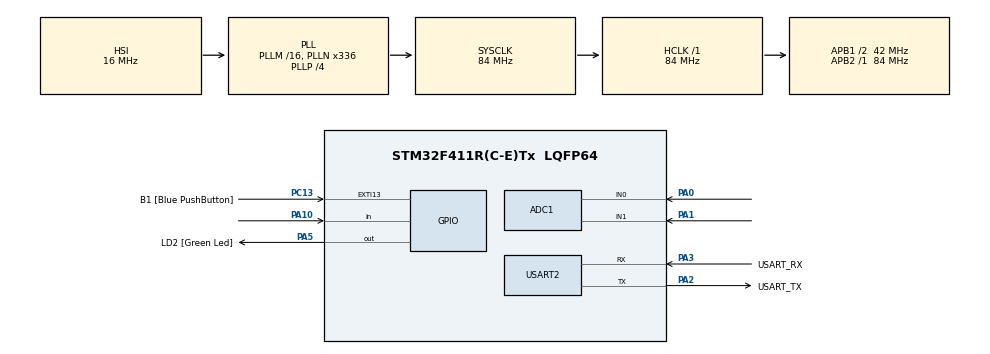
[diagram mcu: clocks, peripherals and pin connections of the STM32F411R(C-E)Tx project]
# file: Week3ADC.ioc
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Mcu.Family=STM32F4
PC15-OSC32_OUT.Mode=LSE-External-Oscillator
RCC.CortexFreq_Value=84000000
ADC1.Rank-0\#ChannelRegularConversion=1
PC13-ANTI_TAMP.GPIO_PuPd=GPIO_NOPULL
VP_ADC1_TempSens_Input.Mode=IN-TempSens
PC13-ANTI_TAMP.GPIO_Label=B1 [Blue PushButton]
PA14.GPIO_Label=TCK
PH1\ -\ OSC_OUT.Mode=HSE-External-Clock-Source
ADC1.DiscontinuousConvMode=DISABLE
RCC.APB1CLKDivider=RCC_HCLK_DIV2
PC14-OSC32_IN.Signal=RCC_OSC32_IN
RCC.SYSCLKSource=RCC_SYSCLKSOURCE_PLLCLK
ProjectManager.StackSize=0x400
PA0-WKUP.Signal=ADCx_IN0
PA3.Mode=Asynchronous
PA13.Signal=SYS_JTMS-SWDIO
PH0\ -\ OSC_IN.Mode=HSE-External-Clock-Source
PH0\ -\ OSC_IN.Signal=RCC_OSC_IN
ProjectManager.TargetToolchain=STM32CubeIDE
RCC.HCLKFreq_Value=84000000
RCC.APB2TimFreq_Value=84000000
PC15-OSC32_OUT.Signal=RCC_OSC32_OUT
PA1.Signal=ADCx_IN1
RCC.AHBFreq_Value=84000000
PA5.Signal=GPIO_Output
ADC1.Channel-0\#ChannelRegularConversion=ADC_CHANNEL_0
RCC.HSE_VALUE=8000000
PH1\ -\ OSC_OUT.Signal=RCC_OSC_OUT
board=NUCLEO-F411RE
PC13-ANTI_TAMP.Signal=GPXTI13
RCC.VCOOutputFreq_Value=336000000
RCC.APB2Freq_Value=84000000
PC14-OSC32_IN.Mode=LSE-External-Oscillator
PA14.Mode=Serial_Wire
SH.ADCx_IN0.0=ADC1_IN0,IN0
ADC1.NbrOfConversion=1
PA13.Mode=Serial_Wire
Mcu.Name=STM32F411R(C-E)Tx
ADC1.SamplingTime-0\#ChannelRegularConversion=ADC_SAMPLETIME_3CYCLES
PA2.Signal=USART2_TX
PA13.GPIO_Label=TMS
RCC.FLatency-AdvancedSettings=FLASH_LATENCY_2
RCC.48MHZClocksFreq_Value=84000000
PB3.Signal=SYS_JTDO-SWO
RCC.SYSCLKFreq_VALUE=84000000
Mcu.Package=LQFP64
ADC1.master=1
PA5.GPIO_Label=LD2 [Green Led]
USART2.VirtualMode=VM_ASYNC
PC13-ANTI_TAMP.GPIO_ModeDefaultEXTI=GPIO_MODE_IT_FALLING
PA2.GPIO_Label=USART_TX
PA10.Signal=GPIO_Input
PA14.Signal=SYS_JTCK-SWCLK
ProjectManager.HeapSize=0x200
RCC.HSI_VALUE=16000000
RCC.PLLP=RCC_PLLP_DIV4
NVIC.PriorityGroup=NVIC_PRIORITYGROUP_0
ADC1.NbrOfConversionFlag=1
SH.ADCx_IN1.0=ADC1_IN1,IN1
RCC.PLLN=336
RCC.APB1TimFreq_Value=84000000
PA2.Mode=Asynchronous
RCC.APB1Freq_Value=42000000
PA3.GPIO_Label=USART_RX
PA3.Signal=USART2_RX
PB3.GPIO_Label=SWO

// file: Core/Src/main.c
/* USER CODE BEGIN Header */
/**
 ******************************************************************************
 * @file           : main.c
 * @brief          : Main program body
 ******************************************************************************
 * @attention
 *
 * <h2><center>&copy; Copyright (c) 2021 STMicroelectronics.
 * All rights reserved.</center></h2>
 *
 * This software component is licensed by ST under BSD 3-Clause license,
 * the "License"; You may not use this file except in compliance with the
 * License. You may obtain a copy of the License at:
 *                        opensource.org/licenses/BSD-3-Clause
 *
 ******************************************************************************
 */
/* USER CODE END Header */
#include "main.h"

ADC_HandleTypeDef hadc1;

UART_HandleTypeDef huart2;

/* USER CODE BEGIN PV */
uint16_t adcdata[2] = { 0 };

typedef struct {
	ADC_ChannelConfTypeDef Config;
	uint16_t data;
} ADCStructure;

ADCStructure ADCChannel[3] = { 0 };
	uint8_t ADCMode = 0 ;
	float ADCOutputConverted = 0;
	uint8_t x[2] = {0} ;
/* USER CODE END PV */

void SystemClock_Config(void);
static void MX_GPIO_Init(void);
static void MX_USART2_UART_Init(void);
static void MX_ADC1_Init(void);
/* USER CODE BEGIN PFP */
void ADCPollingMethodInit();
void ADCPollingMethodUpdate();
/* USER CODE END PFP */

int main(void)
{

  /* MCU Configuration--------------------------------------------------------*/

  /* Reset of all peripherals, Initializes the Flash interface and the Systick. */
  HAL_Init();

  /* Configure the system clock */
  SystemClock_Config();

  /* Initialize all configured peripherals */
  MX_GPIO_Init();
  MX_USART2_UART_Init();
  MX_ADC1_Init();
  /* USER CODE BEGIN 2 */
	ADCPollingMethodInit();

  /* USER CODE END 2 */

  /* Infinite loop */
	while (1) {

    /* USER CODE BEGIN 3 */

		ADCPollingMethodUpdate();
		x[0] = HAL_GPIO_ReadPin(GPIOA, GPIO_PIN_10);
		if(x[0] == GPIO_PIN_RESET && x[1] == GPIO_PIN_SET)
		{
			if(ADCMode == 1)
			{
				ADCMode = 0;
			}
			else
			{
				ADCMode = 1;
			}
		}
		x[1] = x[0];

		if(ADCMode == 1)
		{
			ADCOutputConverted = ((((ADCChannel[2].data*3.3/4096.0))-0.76)/0.0025)+25;
		}
		else
		{
			ADCOutputConverted = ADCChannel[0].data*3.3/4096.0*1000.0;
		}
	}
  /* USER CODE END 3 */
}

void SystemClock_Config(void)
{
  RCC_OscInitTypeDef RCC_OscInitStruct = {0};
  RCC_ClkInitTypeDef RCC_ClkInitStruct = {0};

  /** Configure the main internal regulator output voltage
  */
  __HAL_RCC_PWR_CLK_ENABLE();
  __HAL_PWR_VOLTAGESCALING_CONFIG(PWR_REGULATOR_VOLTAGE_SCALE1);
  /** Initializes the RCC Oscillators according to the specified parameters
  * in the RCC_OscInitTypeDef structure.
  */
  RCC_OscInitStruct.OscillatorType = RCC_OSCILLATORTYPE_HSI;
  RCC_OscInitStruct.HSIState = RCC_HSI_ON;
  RCC_OscInitStruct.HSICalibrationValue = RCC_HSICALIBRATION_DEFAULT;
  RCC_OscInitStruct.PLL.PLLState = RCC_PLL_ON;
  RCC_OscInitStruct.PLL.PLLSource = RCC_PLLSOURCE_HSI;
  RCC_OscInitStruct.PLL.PLLM = 16;
  RCC_OscInitStruct.PLL.PLLN = 336;
  RCC_OscInitStruct.PLL.PLLP = RCC_PLLP_DIV4;
  RCC_OscInitStruct.PLL.PLLQ = 4;
  if (HAL_RCC_OscConfig(&RCC_OscInitStruct) != HAL_OK)
  {
    Error_Handler();
  }
  /** Initializes the CPU, AHB and APB buses clocks
  */
  RCC_ClkInitStruct.ClockType = RCC_CLOCKTYPE_HCLK|RCC_CLOCKTYPE_SYSCLK
                              |RCC_CLOCKTYPE_PCLK1|RCC_CLOCKTYPE_PCLK2;
  RCC_ClkInitStruct.SYSCLKSource = RCC_SYSCLKSOURCE_PLLCLK;
  RCC_ClkInitStruct.AHBCLKDivider = RCC_SYSCLK_DIV1;
  RCC_ClkInitStruct.APB1CLKDivider = RCC_HCLK_DIV2;
  RCC_ClkInitStruct.APB2CLKDivider = RCC_HCLK_DIV1;

  if (HAL_RCC_ClockConfig(&RCC_ClkInitStruct, FLASH_LATENCY_2) != HAL_OK)
  {
    Error_Handler();
  }
}

static void MX_ADC1_Init(void)
{

  ADC_ChannelConfTypeDef sConfig = {0};

  /** Configure the global features of the ADC (Clock, Resolution, Data Alignment and number of conversion)
  */
  hadc1.Instance = ADC1;
  hadc1.Init.ClockPrescaler = ADC_CLOCK_SYNC_PCLK_DIV4;
  hadc1.Init.Resolution = ADC_RESOLUTION_12B;
  hadc1.Init.ScanConvMode = DISABLE;
  hadc1.Init.ContinuousConvMode = DISABLE;
  hadc1.Init.DiscontinuousConvMode = DISABLE;
  hadc1.Init.ExternalTrigConvEdge = ADC_EXTERNALTRIGCONVEDGE_NONE;
  hadc1.Init.ExternalTrigConv = ADC_SOFTWARE_START;
  hadc1.Init.DataAlign = ADC_DATAALIGN_RIGHT;
  hadc1.Init.NbrOfConversion = 1;
  hadc1.Init.DMAContinuousRequests = DISABLE;
  hadc1.Init.EOCSelection = ADC_EOC_SINGLE_CONV;
  if (HAL_ADC_Init(&hadc1) != HAL_OK)
  {
    Error_Handler();
  }
  /** Configure for the selected ADC regular channel its corresponding rank in the sequencer and its sample time.
  */
  sConfig.Channel = ADC_CHANNEL_0;
  sConfig.Rank = 1;
  sConfig.SamplingTime = ADC_SAMPLETIME_3CYCLES;
  if (HAL_ADC_ConfigChannel(&hadc1, &sConfig) != HAL_OK)
  {
    Error_Handler();
  }

}

static void MX_USART2_UART_Init(void)
{

  huart2.Instance = USART2;
  huart2.Init.BaudRate = 115200;
  huart2.Init.WordLength = UART_WORDLENGTH_8B;
  huart2.Init.StopBits = UART_STOPBITS_1;
  huart2.Init.Parity = UART_PARITY_NONE;
  huart2.Init.Mode = UART_MODE_TX_RX;
  huart2.Init.HwFlowCtl = UART_HWCONTROL_NONE;
  huart2.Init.OverSampling = UART_OVERSAMPLING_16;
  if (HAL_UART_Init(&huart2) != HAL_OK)
  {
    Error_Handler();
  }

}

static void MX_GPIO_Init(void)
{
  GPIO_InitTypeDef GPIO_InitStruct = {0};

  /* GPIO Ports Clock Enable */
  __HAL_RCC_GPIOC_CLK_ENABLE();
  __HAL_RCC_GPIOH_CLK_ENABLE();
  __HAL_RCC_GPIOA_CLK_ENABLE();
  __HAL_RCC_GPIOB_CLK_ENABLE();

  /*Configure GPIO pin Output Level */
  HAL_GPIO_WritePin(LD2_GPIO_Port, LD2_Pin, GPIO_PIN_RESET);

  /*Configure GPIO pin : B1_Pin */
  GPIO_InitStruct.Pin = B1_Pin;
  GPIO_InitStruct.Mode = GPIO_MODE_IT_FALLING;
  GPIO_InitStruct.Pull = GPIO_NOPULL;
  HAL_GPIO_Init(B1_GPIO_Port, &GPIO_InitStruct);

  /*Configure GPIO pin : LD2_Pin */
  GPIO_InitStruct.Pin = LD2_Pin;
  GPIO_InitStruct.Mode = GPIO_MODE_OUTPUT_PP;
  GPIO_InitStruct.Pull = GPIO_NOPULL;
  GPIO_InitStruct.Speed = GPIO_SPEED_FREQ_LOW;
  HAL_GPIO_Init(LD2_GPIO_Port, &GPIO_InitStruct);

  /*Configure GPIO pin : PA10 */
  GPIO_InitStruct.Pin = GPIO_PIN_10;
  GPIO_InitStruct.Mode = GPIO_MODE_INPUT;
  GPIO_InitStruct.Pull = GPIO_NOPULL;
  HAL_GPIO_Init(GPIOA, &GPIO_InitStruct);

}

/* USER CODE BEGIN 4 */
void ADCPollingMethodInit() {
	//config all ADC Channel
	ADCChannel[0].Config.Channel = ADC_CHANNEL_0;
	ADCChannel[0].Config.Rank = 1;
	ADCChannel[0].Config.SamplingTime = ADC_SAMPLETIME_3CYCLES;

	ADCChannel[1].Config.Channel = ADC_CHANNEL_1;
	ADCChannel[1].Config.Rank = 1;
	ADCChannel[1].Config.SamplingTime = ADC_SAMPLETIME_3CYCLES;

	ADCChannel[2].Config.Channel = ADC_CHANNEL_TEMPSENSOR;
	ADCChannel[2].Config.Rank = 1;
	ADCChannel[2].Config.SamplingTime = ADC_SAMPLETIME_3CYCLES;
}
//Polling Method
void ADCPollingMethodUpdate() {
	//Read all 3 Channel
	for (int i = 0; i < 3; i++) {
		HAL_ADC_ConfigChannel(&hadc1, &ADCChannel[i].Config);
		HAL_ADC_Start(&hadc1);
		HAL_ADC_PollForConversion(&hadc1, 10);
		ADCChannel[i].data = HAL_ADC_GetValue(&hadc1);
		HAL_ADC_Stop(&hadc1);
	}
}
/* USER CODE END 4 */

void Error_Handler(void)
{
	__disable_irq();
	while (1) {
	}
}

/************************ (C) COPYRIGHT STMicroelectronics *****END OF FILE****/
